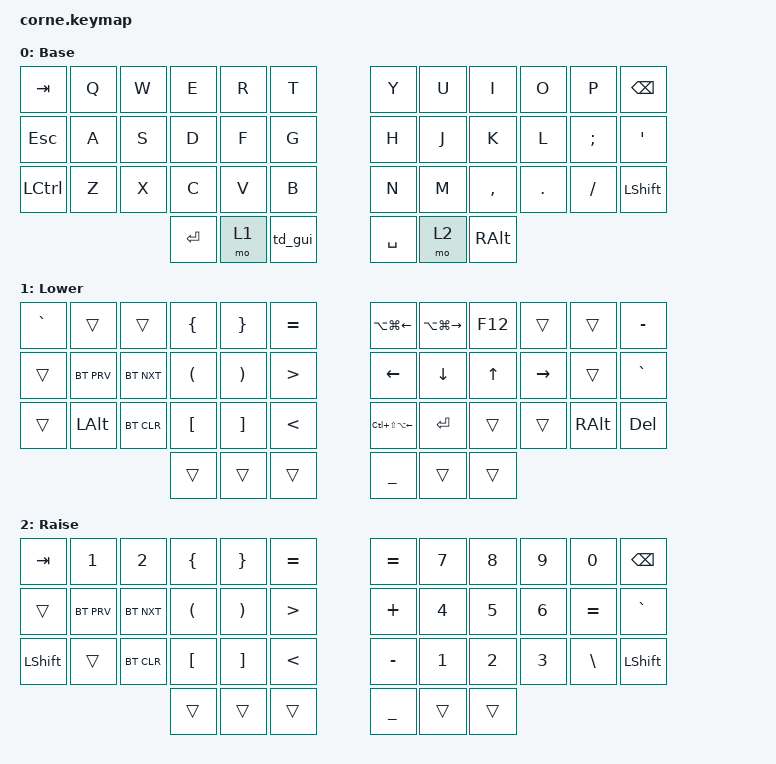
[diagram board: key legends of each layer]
/*
 * Copyright (c) 2020 The ZMK Contributors
 *
 * SPDX-License-Identifier: MIT
 */

#include <behaviors.dtsi>
#include <dt-bindings/zmk/keys.h>
#include <dt-bindings/zmk/bt.h>

&sk {
        // Default 1s is tight after a double tap; give time to reach the next key
        release-after-ms = <2000>;
};

/ {
        macros {
                // Three separate sticky mods: a single &sk LC(LA(LGUI)) only keeps
                // GUI, since implicit mods are dropped on the next key press
                hyper_once: hyper_once {
                        compatible = "zmk,behavior-macro";
                        display-name = "Ctrl+Opt+Cmd once";
                        #binding-cells = <0>;
                        bindings = <&sk LCTRL &sk LALT &sk LGUI>;
                };
        };

        behaviors {
                // Tap or hold: GUI. Double tap: ctrl+opt+cmd for the next key, for
                // the skhd media shortcuts (Space / Y / O / I / U)
                td_gui: td_gui {
                        compatible = "zmk,behavior-tap-dance";
                        display-name = "GUI / Ctrl+Opt+Cmd";
                        #binding-cells = <0>;
                        tapping-term-ms = <300>;
                        bindings = <&kp LGUI>, <&hyper_once>;
                };
        };

        keymap {
                compatible = "zmk,keymap";

                default_layer {
// -----------------------------------------------------------------------------------------
// |  TAB |  Q  |  W  |  E  |  R  |  T  |   |  Y  |  U   |  I  |  O  |  P  | BKSP |
// |  ESC |  A  |  S  |  D  |  F  |  G  |   |  H  |  J   |  K  |  L  |  ;  |  '   |
// | CTRL |  Z  |  X  |  C  |  V  |  B  |   |  N  |  M   |  ,  |  .  |  /  | SHFT |
//                    | RET | LWR | GUI*|   | SPC | RSE  | ALT |
//  * tap/hold GUI, double tap = ctrl+opt+cmd for the next key
                        display-name = "Base";
                        bindings = <
   &kp TAB   &kp Q &kp W &kp E &kp R &kp T   &kp Y &kp U  &kp I     &kp O   &kp P    &kp BSPC
   &kp ESC   &kp A &kp S &kp D &kp F &kp G   &kp H &kp J  &kp K     &kp L   &kp SEMI &kp SQT
   &kp LCTRL &kp Z &kp X &kp C &kp V &kp B   &kp N &kp M  &kp COMMA &kp DOT &kp FSLH &kp LSHFT
                     &kp RET &mo 1 &td_gui   &kp SPACE &mo 2 &kp RALT
                        >;
                };
                lower_layer {
// -----------------------------------------------------------------------------------------
// |   `  |     |     |  {  |  }  |  =  |   |A+G ←|A+G →| F12 |     |     |  -   |
// |      |BTPRV|BTNXT|  (  |  )  |  >  |   |  ←  |  ↓  |  ↑  |  →  |     |  `   |
// |      | ALT |BTCLR|  [  |  ]  |  <  |   |CSA ←| RET |     |     | ALT | DEL  |
//                    |     |     |     |   |  _  |     |     |
                        display-name = "Lower";
                        bindings = <
   &kp GRAVE &trans      &trans      &kp LBRC &kp RBRC &kp EQUAL   &kp LA(LG(LEFT))     &kp LA(LG(RIGHT)) &kp F12 &trans    &trans   &kp MINUS
   &trans    &bt BT_PRV  &bt BT_NXT  &kp LPAR &kp RPAR &kp GT      &kp LEFT             &kp DOWN          &kp UP  &kp RIGHT &trans   &kp GRAVE
   &trans    &kp LALT    &bt BT_CLR  &kp LBKT &kp RBKT &kp LT      &kp LC(LS(LA(LEFT))) &kp RET           &trans  &trans    &kp RALT &kp DEL
                                     &trans   &trans   &trans      &kp UNDER            &trans            &trans
                        >;
                };

                raise_layer {
// -----------------------------------------------------------------------------------------
// |  TAB |  1  |  2  |  {  |  }  |  =  |   |  =  |  7  |  8  |  9  |  0  | BKSP |
// |      |BTPRV|BTNXT|  (  |  )  |  >  |   |  +  |  4  |  5  |  6  |  =  |  `   |
// | SHFT |     |BTCLR|  [  |  ]  |  <  |   |  -  |  1  |  2  |  3  |  \  | SHFT |
//                    |     |     |     |   |  _  |     |     |
                        display-name = "Raise";
                        bindings = <
   &kp TAB   &kp N1      &kp N2      &kp LBRC &kp RBRC &kp EQUAL   &kp EQUAL &kp N7 &kp N8 &kp N9 &kp N0    &kp BSPC
   &trans    &bt BT_PRV  &bt BT_NXT  &kp LPAR &kp RPAR &kp GT      &kp PLUS  &kp N4 &kp N5 &kp N6 &kp EQUAL &kp GRAVE
   &kp LSHFT &trans      &bt BT_CLR  &kp LBKT &kp RBKT &kp LT      &kp MINUS &kp N1 &kp N2 &kp N3 &kp BSLH  &kp LSHFT
                                     &trans   &trans   &trans      &kp UNDER &trans &trans
                        >;
                };

                extra_1 {
                        status = "reserved";
                };

                extra_2 {
                        status = "reserved";
                };

                extra_3 {
                        status = "reserved";
                };
        };
};
